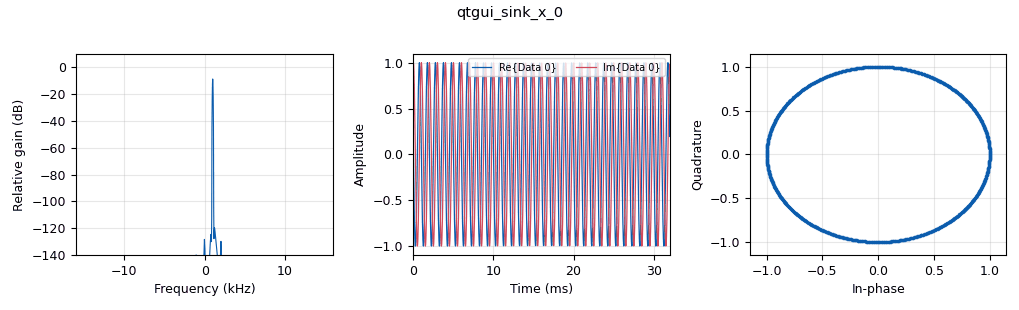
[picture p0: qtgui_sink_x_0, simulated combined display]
<?xml version='1.0' encoding='utf-8'?>
<?grc format='1' created='3.7.11'?>
<flow_graph>
<block>
<key>options</key>
<param><key>id</key><value>top_block</value></param>
<param><key>generate_options</key><value>qt_gui</value></param>
</block>
<block>
<key>variable_qtgui_range</key>
<param><key>id</key><value>off</value></param>
<param><key>value</key><value>1</value></param>
<param><key>orient</key><value>Qt.Horizontal</value></param>
<param><key>start</key><value>0</value></param>
<param><key>step</key><value>1</value></param>
<param><key>stop</key><value>4000</value></param>
</block>
<block>
<key>variable</key>
<param><key>id</key><value>samp_rate</value></param>
<param><key>value</key><value>32000</value></param>
</block>
<block>
<key>variable_low_pass_filter_taps</key>
<param><key>id</key><value>variable_low_pass_filter_taps_0</value></param>
<param><key>gain</key><value>1.0</value></param>
<param><key>samp_rate</key><value>samp_rate</value></param>
<param><key>win</key><value>firdes.WIN_HAMMING</value></param>
</block>
<block>
<key>analog_sig_source_x</key>
<param><key>id</key><value>analog_sig_source_x_0</value></param>
<param><key>amp</key><value>1</value></param>
<param><key>freq</key><value>1000</value></param>
<param><key>offset</key><value>0</value></param>
<param><key>type</key><value>complex</value></param>
<param><key>samp_rate</key><value>samp_rate</value></param>
<param><key>waveform</key><value>analog.GR_COS_WAVE</value></param>
</block>
<block>
<key>analog_sig_source_x</key>
<param><key>id</key><value>analog_sig_source_x_1</value></param>
<param><key>amp</key><value>1</value></param>
<param><key>freq</key><value>off</value></param>
<param><key>offset</key><value>0</value></param>
<param><key>type</key><value>complex</value></param>
<param><key>samp_rate</key><value>samp_rate</value></param>
<param><key>waveform</key><value>analog.GR_COS_WAVE</value></param>
</block>
<block>
<key>blocks_multiply_xx</key>
<param><key>id</key><value>blocks_multiply_xx_0</value></param>
<param><key>type</key><value>complex</value></param>
</block>
<block>
<key>blocks_throttle</key>
<param><key>id</key><value>blocks_throttle_0</value></param>
<param><key>samples_per_second</key><value>samp_rate*10</value></param>
<param><key>type</key><value>complex</value></param>
</block>
<block>
<key>qtgui_sink_x</key>
<param><key>id</key><value>qtgui_sink_x_0</value></param>
<param><key>bw</key><value>samp_rate</value></param>
<param><key>fc</key><value>0</value></param>
<param><key>freqchangevar</key><value>None</value></param>
<param><key>fftsize</key><value>1024</value></param>
<param><key>showports</key><value>True</value></param>
<param><key>type</key><value>complex</value></param>
<param><key>rate</key><value>20</value></param>
<param><key>wintype</key><value>firdes.WIN_BLACKMAN_hARRIS</value></param>
</block>
<connection><source_block_id>analog_sig_source_x_0</source_block_id><sink_block_id>blocks_multiply_xx_0</sink_block_id><source_key>0</source_key><sink_key>0</sink_key></connection>
<connection><source_block_id>analog_sig_source_x_1</source_block_id><sink_block_id>blocks_multiply_xx_0</sink_block_id><source_key>0</source_key><sink_key>1</sink_key></connection>
<connection><source_block_id>blocks_multiply_xx_0</source_block_id><sink_block_id>blocks_throttle_0</sink_block_id><source_key>0</source_key><sink_key>0</sink_key></connection>
<connection><source_block_id>blocks_throttle_0</source_block_id><sink_block_id>qtgui_sink_x_0</sink_block_id><source_key>0</source_key><sink_key>0</sink_key></connection>
</flow_graph>
